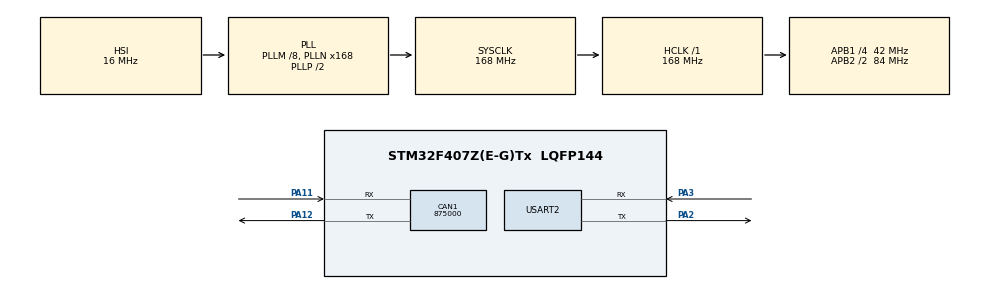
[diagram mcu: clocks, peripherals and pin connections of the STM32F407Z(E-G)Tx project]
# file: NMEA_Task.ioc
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CAN1.CalculateBaudRate=875000
CAN1.CalculateTimeBit=1142
CAN1.CalculateTimeQuantum=380.95238095238096
Dma.Request0=USART2_RX
Dma.Request1=USART2_TX
Dma.USART2_RX.0.Direction=DMA_PERIPH_TO_MEMORY
Dma.USART2_RX.0.FIFOMode=DMA_FIFOMODE_DISABLE
Dma.USART2_RX.0.Instance=DMA1_Stream5
Dma.USART2_RX.0.MemDataAlignment=DMA_MDATAALIGN_BYTE
Dma.USART2_RX.0.MemInc=DMA_MINC_ENABLE
Dma.USART2_RX.0.Mode=DMA_NORMAL
Dma.USART2_RX.0.PeriphDataAlignment=DMA_PDATAALIGN_BYTE
Dma.USART2_RX.0.PeriphInc=DMA_PINC_DISABLE
Dma.USART2_RX.0.Priority=DMA_PRIORITY_LOW
Dma.USART2_TX.1.Direction=DMA_MEMORY_TO_PERIPH
Dma.USART2_TX.1.FIFOMode=DMA_FIFOMODE_DISABLE
Dma.USART2_TX.1.Instance=DMA1_Stream6
Dma.USART2_TX.1.MemDataAlignment=DMA_MDATAALIGN_BYTE
Dma.USART2_TX.1.MemInc=DMA_MINC_ENABLE
Dma.USART2_TX.1.Mode=DMA_NORMAL
Dma.USART2_TX.1.PeriphDataAlignment=DMA_PDATAALIGN_BYTE
Dma.USART2_TX.1.PeriphInc=DMA_PINC_DISABLE
Dma.USART2_TX.1.Priority=DMA_PRIORITY_LOW
Mcu.Family=STM32F4
Mcu.Name=STM32F407Z(E-G)Tx
Mcu.Package=LQFP144
NVIC.CAN1_RX0_IRQn=true\:0\:0\:false\:false\:true\:true\:true\:true
NVIC.CAN1_RX1_IRQn=true\:0\:0\:false\:false\:true\:true\:true\:true
NVIC.CAN1_SCE_IRQn=true\:0\:0\:false\:false\:true\:true\:true\:true
NVIC.CAN1_TX_IRQn=true\:0\:0\:false\:false\:true\:true\:true\:true
NVIC.DMA1_Stream5_IRQn=true\:0\:0\:false\:false\:true\:false\:true\:true
NVIC.DMA1_Stream6_IRQn=true\:0\:0\:false\:false\:true\:false\:true\:true
NVIC.PriorityGroup=NVIC_PRIORITYGROUP_4
NVIC.USART2_IRQn=true\:0\:0\:false\:false\:true\:true\:true\:true
PA11.Mode=CAN_Activate
PA11.Signal=CAN1_RX
PA12.Mode=CAN_Activate
PA12.Signal=CAN1_TX
PA2.Mode=Asynchronous
PA2.Signal=USART2_TX
PA3.Mode=Asynchronous
PA3.Signal=USART2_RX
PC14-OSC32_IN.Mode=LSE-External-Oscillator
PC14-OSC32_IN.Signal=RCC_OSC32_IN
PC15-OSC32_OUT.Mode=LSE-External-Oscillator
PC15-OSC32_OUT.Signal=RCC_OSC32_OUT
PH0-OSC_IN.Mode=HSE-External-Oscillator
PH0-OSC_IN.Signal=RCC_OSC_IN
PH1-OSC_OUT.Mode=HSE-External-Oscillator
PH1-OSC_OUT.Signal=RCC_OSC_OUT
ProjectManager.HeapSize=0x200
ProjectManager.StackSize=0x400
ProjectManager.TargetToolchain=STM32CubeIDE
RCC.48MHZClocksFreq_Value=84000000
RCC.AHBFreq_Value=168000000
RCC.APB1CLKDivider=RCC_HCLK_DIV4
RCC.APB1Freq_Value=42000000
RCC.APB1TimFreq_Value=84000000
RCC.APB2CLKDivider=RCC_HCLK_DIV2
RCC.APB2Freq_Value=84000000
RCC.APB2TimFreq_Value=168000000
RCC.CortexFreq_Value=168000000
RCC.HCLKFreq_Value=168000000
RCC.HSE_VALUE=25000000
RCC.HSI_VALUE=16000000
RCC.PLLM=8
RCC.PLLN=168
RCC.SYSCLKFreq_VALUE=168000000
RCC.SYSCLKSource=RCC_SYSCLKSOURCE_PLLCLK
RCC.VCOOutputFreq_Value=336000000
USART2.VirtualMode=VM_ASYNC
board=custom

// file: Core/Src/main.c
/* USER CODE BEGIN Header */
/**
  ******************************************************************************
  * @file           : main.c
  * @brief          : Main program body
  ******************************************************************************
  * @attention
  *
  * Copyright (c) 2024 STMicroelectronics.
  * All rights reserved.
  *
  * This software is licensed under terms that can be found in the LICENSE file
  * in the root directory of this software component.
  * If no LICENSE file comes with this software, it is provided AS-IS.
  *
  ******************************************************************************
  */
/* USER CODE END Header */
#include "main.h"
#include "nmea.h"

CAN_HandleTypeDef hcan1;

UART_HandleTypeDef huart2;
DMA_HandleTypeDef hdma_usart2_rx;
DMA_HandleTypeDef hdma_usart2_tx;

/* USER CODE BEGIN PV */
NMEA_Data_Struct_t GPS_NMEA_DataPackage;
uint8_t NMEA_RX_Buffer[512];

CAN_TxHeaderTypeDef CAN_TX_Header;
CAN_RxHeaderTypeDef CAN_RX_Header;

uint8_t CAN_TX_Buffer;
uint8_t CAN_RX_Buffer;

uint32_t CAN_TX_MailBox;
uint32_t CAN_RX_MailBox;

bool DataFlag = False;

/* USER CODE END PV */

void SystemClock_Config(void);
static void MX_GPIO_Init(void);
static void MX_DMA_Init(void);
static void MX_USART2_UART_Init(void);
static void MX_CAN1_Init(void);

/* USER CODE BEGIN 0 */
void HAL_UARTEx_RxEventCallback(UART_HandleTypeDef *huart, uint16_t Size){
	if(huart->Instance == USART2){
		HAL_UARTEx_ReceiveToIdle_DMA(&huart2, NMEA_RX_Buffer, 512);
		__HAL_DMA_DISABLE_IT(&hdma_usart2_rx, DMA_IT_HT);
	}
}

void HAL_CAN_RxFifo0MsgPendingCallback(CAN_HandleTypeDef *hcan){
	HAL_CAN_GetRxMessage(&hcan1, CAN_RX_FIFO0, &CAN_RX_Header, &CAN_RX_Buffer);

	if(CAN_RX_Header.DLC == 2){
		DataFlag = True;
	}
}
/* USER CODE END 0 */

int main(void)
{

  /* MCU Configuration--------------------------------------------------------*/

  /* Reset of all peripherals, Initializes the Flash interface and the Systick. */
  HAL_Init();

  /* Configure the system clock */
  SystemClock_Config();

  /* Initialize all configured peripherals */
  MX_GPIO_Init();
  MX_DMA_Init();
  MX_USART2_UART_Init();
  MX_CAN1_Init();
  /* USER CODE BEGIN 2 */

  /* Enable UART communication as idle DMA */
  HAL_UARTEx_ReceiveToIdle_DMA(&huart2, NMEA_RX_Buffer, 512);
  __HAL_DMA_DISABLE_IT(&hdma_usart2_rx, DMA_IT_HT);

  /* Enable CAN communication */
  HAL_CAN_Start(&hcan1);

  /* Active CAN notification */
  HAL_CAN_ActivateNotification(&hcan1, CAN_IT_RX_FIFO0_MSG_PENDING);

  /* Config CAN */
  CAN_TX_Header.DLC = 2;
  CAN_TX_Header.IDE = CAN_ID_STD;
  CAN_TX_Header.RTR = CAN_RTR_DATA;
  CAN_TX_Header.StdId = 0x161;

  /* USER CODE END 2 */

  /* Infinite loop */
  while (1)
  {
	  NMEA_Structure_Update(&GPS_NMEA_DataPackage, NMEA_RX_Buffer);
	  HAL_CAN_AddTxMessage(&hcan1, &CAN_TX_Header, &CAN_TX_Buffer, &CAN_TX_MailBox);
	  HAL_Delay(100);

	  if(DataFlag == True){
		  /* in this state you can send specific data needed by another member */
		  HAL_CAN_AddTxMessage(&hcan1, &CAN_TX_Header, &CAN_TX_Buffer, &CAN_TX_MailBox);

		  /* After send the data reset the flag */
		  DataFlag = False;
	  }
  }
}

void SystemClock_Config(void)
{
  RCC_OscInitTypeDef RCC_OscInitStruct = {0};
  RCC_ClkInitTypeDef RCC_ClkInitStruct = {0};

  /** Configure the main internal regulator output voltage
  */
  __HAL_RCC_PWR_CLK_ENABLE();
  __HAL_PWR_VOLTAGESCALING_CONFIG(PWR_REGULATOR_VOLTAGE_SCALE1);

  /** Initializes the RCC Oscillators according to the specified parameters
  * in the RCC_OscInitTypeDef structure.
  */
  RCC_OscInitStruct.OscillatorType = RCC_OSCILLATORTYPE_HSI;
  RCC_OscInitStruct.HSIState = RCC_HSI_ON;
  RCC_OscInitStruct.HSICalibrationValue = RCC_HSICALIBRATION_DEFAULT;
  RCC_OscInitStruct.PLL.PLLState = RCC_PLL_ON;
  RCC_OscInitStruct.PLL.PLLSource = RCC_PLLSOURCE_HSI;
  RCC_OscInitStruct.PLL.PLLM = 8;
  RCC_OscInitStruct.PLL.PLLN = 168;
  RCC_OscInitStruct.PLL.PLLP = RCC_PLLP_DIV2;
  RCC_OscInitStruct.PLL.PLLQ = 4;
  if (HAL_RCC_OscConfig(&RCC_OscInitStruct) != HAL_OK)
  {
    Error_Handler();
  }

  /** Initializes the CPU, AHB and APB buses clocks
  */
  RCC_ClkInitStruct.ClockType = RCC_CLOCKTYPE_HCLK|RCC_CLOCKTYPE_SYSCLK
                              |RCC_CLOCKTYPE_PCLK1|RCC_CLOCKTYPE_PCLK2;
  RCC_ClkInitStruct.SYSCLKSource = RCC_SYSCLKSOURCE_PLLCLK;
  RCC_ClkInitStruct.AHBCLKDivider = RCC_SYSCLK_DIV1;
  RCC_ClkInitStruct.APB1CLKDivider = RCC_HCLK_DIV4;
  RCC_ClkInitStruct.APB2CLKDivider = RCC_HCLK_DIV2;

  if (HAL_RCC_ClockConfig(&RCC_ClkInitStruct, FLASH_LATENCY_5) != HAL_OK)
  {
    Error_Handler();
  }
}

static void MX_CAN1_Init(void)
{

  hcan1.Instance = CAN1;
  hcan1.Init.Prescaler = 16;
  hcan1.Init.Mode = CAN_MODE_NORMAL;
  hcan1.Init.SyncJumpWidth = CAN_SJW_1TQ;
  hcan1.Init.TimeSeg1 = CAN_BS1_1TQ;
  hcan1.Init.TimeSeg2 = CAN_BS2_1TQ;
  hcan1.Init.TimeTriggeredMode = DISABLE;
  hcan1.Init.AutoBusOff = DISABLE;
  hcan1.Init.AutoWakeUp = DISABLE;
  hcan1.Init.AutoRetransmission = DISABLE;
  hcan1.Init.ReceiveFifoLocked = DISABLE;
  hcan1.Init.TransmitFifoPriority = DISABLE;
  if (HAL_CAN_Init(&hcan1) != HAL_OK)
  {
    Error_Handler();
  }

}

static void MX_USART2_UART_Init(void)
{

  huart2.Instance = USART2;
  huart2.Init.BaudRate = 115200;
  huart2.Init.WordLength = UART_WORDLENGTH_8B;
  huart2.Init.StopBits = UART_STOPBITS_1;
  huart2.Init.Parity = UART_PARITY_NONE;
  huart2.Init.Mode = UART_MODE_TX_RX;
  huart2.Init.HwFlowCtl = UART_HWCONTROL_NONE;
  huart2.Init.OverSampling = UART_OVERSAMPLING_16;
  if (HAL_UART_Init(&huart2) != HAL_OK)
  {
    Error_Handler();
  }

}

static void MX_DMA_Init(void)
{

  /* DMA controller clock enable */
  __HAL_RCC_DMA1_CLK_ENABLE();

  /* DMA interrupt init */
  /* DMA1_Stream5_IRQn interrupt configuration */
  HAL_NVIC_SetPriority(DMA1_Stream5_IRQn, 0, 0);
  HAL_NVIC_EnableIRQ(DMA1_Stream5_IRQn);
  /* DMA1_Stream6_IRQn interrupt configuration */
  HAL_NVIC_SetPriority(DMA1_Stream6_IRQn, 0, 0);
  HAL_NVIC_EnableIRQ(DMA1_Stream6_IRQn);

}

static void MX_GPIO_Init(void)
{

  /* GPIO Ports Clock Enable */
  __HAL_RCC_GPIOC_CLK_ENABLE();
  __HAL_RCC_GPIOH_CLK_ENABLE();
  __HAL_RCC_GPIOA_CLK_ENABLE();

}

void Error_Handler(void)
{
  __disable_irq();
  while (1)
  {
  }
}
